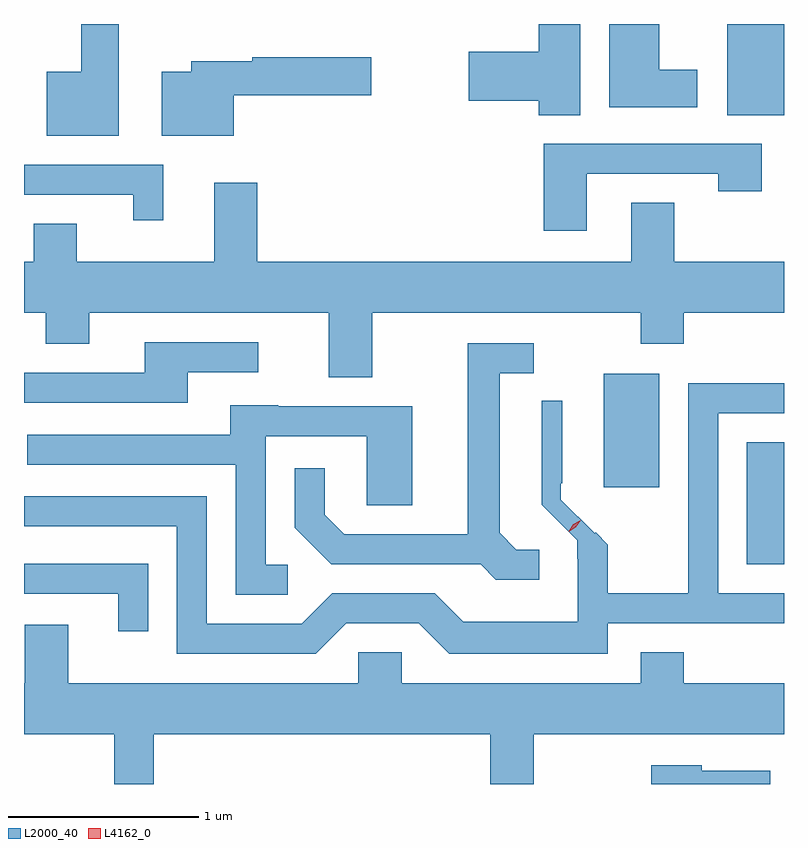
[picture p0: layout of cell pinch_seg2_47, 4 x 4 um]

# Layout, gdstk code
import gdstk
lib = gdstk.Library(unit=1e-6, precision=1e-09)
def R(c, l, rs):  # rectangles x0, y0, x1, y1
    for r in rs: c.add(gdstk.rectangle(r[:2], r[2:], *l))
def P(c, l, *ps):  # polygons
    for p in ps: c.add(gdstk.Polygon(p, *l))
L2000_40 = (2000, 40)
L4162_0 = (4162, 0)

pinch_seg2_47 = lib.new_cell('pinch_seg2_47')
R(pinch_seg2_47, L2000_40, [(1105.131,1102.491,1105.326,1103.134), (1104.376,1102.896,1104.669,1103.494), (1105.026,1104.856,1105.326,1105.335)])
P(pinch_seg2_47, L2000_40, [(1104.254,1105.335),(1104.036,1105.335),(1104.036,1105.189),(1103.666,1105.189),(1103.666,1104.931),(1104.036,1104.931),(1104.036,1104.856),(1104.254,1104.856)],
  [(1104.869,1105.094),(1104.669,1105.094),(1104.669,1105.335),(1104.406,1105.335),(1104.406,1104.896),(1104.869,1104.896)],
  [(1101.824,1105.335),(1101.626,1105.335),(1101.626,1105.084),(1101.446,1105.084),(1101.446,1104.746),(1101.824,1104.746)],
  [(1102.429,1104.961),(1103.154,1104.961),(1103.154,1105.159),(1102.526,1105.159),(1102.526,1105.139),(1102.206,1105.139),(1102.206,1105.084),(1102.051,1105.084),(1102.051,1104.746),(1102.429,1104.746)],
  [(1104.289,1104.546),(1104.981,1104.546),(1104.981,1104.456),(1105.209,1104.456),(1105.209,1104.704),(1104.061,1104.704),(1104.061,1104.246),(1104.289,1104.246)],
  [(1102.059,1104.594),(1101.326,1104.594),(1101.326,1104.436),(1101.901,1104.436),(1101.901,1104.303),(1102.059,1104.303)],
  [(1103.159,1103.816),(1104.571,1103.816),(1104.571,1103.651),(1104.799,1103.651),(1104.799,1103.816),(1105.326,1103.816),(1105.326,1104.084),(1104.749,1104.084),(1104.749,1104.394),(1104.521,1104.394),(1104.521,1104.084),(1102.554,1104.084),(1102.554,1104.499),(1102.326,1104.499),(1102.326,1104.084),(1101.604,1104.084),(1101.604,1104.284),(1101.376,1104.284),(1101.376,1104.084),(1101.326,1104.084),(1101.326,1103.816),(1101.441,1103.816),(1101.441,1103.651),(1101.669,1103.651),(1101.669,1103.816),(1102.931,1103.816),(1102.931,1103.476),(1103.159,1103.476)],
  [(1102.189,1103.501),(1102.558,1103.501),(1102.558,1103.659),(1101.961,1103.659),(1101.961,1103.499),(1101.326,1103.499),(1101.326,1103.341),(1102.189,1103.341)],
  [(1104.038,1102.569),(1103.917,1102.569),(1103.829,1102.657),(1103.829,1103.496),(1104.008,1103.496),(1104.008,1103.654),(1103.661,1103.654),(1103.661,1102.649),(1103.012,1102.649),(1102.909,1102.752),(1102.909,1102.998),(1102.751,1102.998),(1102.751,1102.684),(1102.944,1102.491),(1103.729,1102.491),(1103.809,1102.411),(1104.038,1102.411)],
  [(1103.022,1102.181),(1103.404,1102.181),(1103.564,1102.021),(1104.399,1102.021),(1104.399,1102.181),(1105.326,1102.181),(1105.326,1102.339),(1104.979,1102.339),(1104.979,1103.286),(1105.326,1103.286),(1105.326,1103.444),(1104.821,1103.444),(1104.821,1102.339),(1104.399,1102.339),(1104.399,1102.595),(1104.335,1102.659),(1104.33,1102.654),(1104.152,1102.832),(1104.152,1102.918),(1104.159,1102.918),(1104.159,1103.353),(1104.051,1103.353),(1104.051,1102.804),(1104.238,1102.617),(1104.238,1102.52),(1104.241,1102.52),(1104.241,1102.189),(1103.637,1102.189),(1103.487,1102.339),(1102.949,1102.339),(1102.789,1102.179),(1102.289,1102.179),(1102.289,1102.849),(1101.326,1102.849),(1101.326,1102.691),(1102.131,1102.691),(1102.131,1102.021),(1102.862,1102.021)],
  [(1102.713,1102.489),(1102.599,1102.489),(1102.599,1103.166),(1103.131,1103.166),(1103.131,1102.801),(1103.369,1102.801),(1103.369,1103.324),(1102.665,1103.324),(1102.665,1103.329),(1102.411,1103.329),(1102.411,1103.174),(1101.343,1103.174),(1101.343,1103.016),(1102.441,1103.016),(1102.441,1102.331),(1102.713,1102.331)],
  [(1101.979,1102.494),(1101.326,1102.494),(1101.326,1102.336),(1101.821,1102.336),(1101.821,1102.138),(1101.979,1102.138)],
  [(1102.009,1101.596),(1103.781,1101.596),(1103.781,1101.335),(1104.009,1101.335),(1104.009,1101.596),(1105.326,1101.596),(1105.326,1101.864),(1104.799,1101.864),(1104.799,1102.029),(1104.571,1102.029),(1104.571,1101.864),(1103.314,1101.864),(1103.314,1102.029),(1103.086,1102.029),(1103.086,1101.864),(1101.559,1101.864),(1101.559,1102.174),(1101.331,1102.174),(1101.331,1101.864),(1101.326,1101.864),(1101.326,1101.596),(1101.801,1101.596),(1101.801,1101.335),(1102.009,1101.335)],
  [(1105.254,1101.404),(1104.894,1101.404),(1104.894,1101.434),(1104.626,1101.434),(1104.626,1101.335),(1105.254,1101.335)])
P(pinch_seg2_47, L4162_0, [(1104.192,1102.663),(1104.192,1102.664),(1104.218,1102.701),(1104.257,1102.724),(1104.257,1102.724),(1104.257,1102.724),(1104.231,1102.686),(1104.192,1102.663)],
  [(1104.196,1102.667),(1104.196,1102.668),(1104.217,1102.701),(1104.252,1102.721),(1104.253,1102.721),(1104.253,1102.72),(1104.231,1102.686),(1104.196,1102.667)])

lib.write_gds('pinch_seg2_47.gds')
